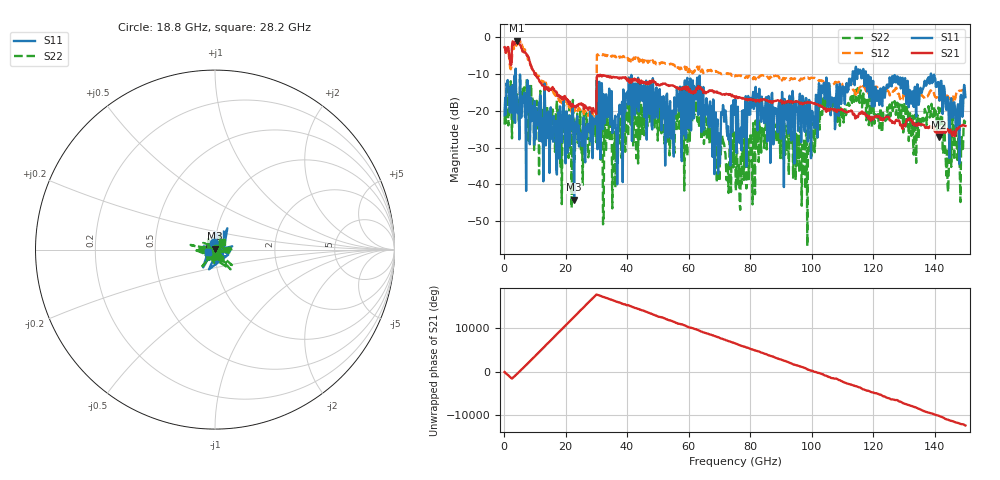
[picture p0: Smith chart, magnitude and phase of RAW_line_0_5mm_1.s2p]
!  2-Port S-parameters saved by WinCal
! VAR MeasName=S-Parameters (CALIBRATED_DATA) read from VNA (MS4647B)
! VAR MeasDate=27-Apr-22 15:00:06
! VAR NAME=RAW_line_0.5mm_1
! VAR FILENAME=RAW_line_0.5mm_1.S2P
! VAR DATE=27-Apr-22 15:00:06
! VAR PHYS_PORTS=1,2
! VAR ObjTypeName=DATASET
! VAR IndexType=Frequency
! VAR ChuckHeaterState=Unknown
! VAR ChuckTemp=NaN
! VAR ChuckTempUnits=Unknown
# Hz S RI R 50
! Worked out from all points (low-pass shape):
!   750 points, 200 MHz to 150 GHz, reference 50 ohm
!   highest |S21| = -0.95 dB at 4.2 GHz (marker M1); lowest = -27.1 dB at 141.4 GHz (marker M2)
!   |S21| within 3 dB of the highest: 690.3 MHz to 1.584 GHz (893.9 MHz wide, 78.6 % of centre); 2.538 GHz to 6.146 GHz (3.608 GHz wide, 83.1 % of centre)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
!   lowest |S11| = -44.2 dB at 22.8 GHz (marker M3), VSWR 1.01, Z = 49.8 + j0.586 ohm
!   |S11| at or under -10 dB: 3.834 GHz to 113.3 GHz (109.5 GHz wide, 187 % of centre); 117.7 GHz to 138.8 GHz (21.1 GHz wide, 16.5 % of centre); 138.8 GHz to end of sweep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
!   |S22| runs from -56.8 to -11.3 dB; largest |S21 - S12| = 1.7
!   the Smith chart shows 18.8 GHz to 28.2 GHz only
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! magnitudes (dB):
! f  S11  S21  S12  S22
! 200 MHz  -21.2  -2.7  -2.6  -23.8
! 4.2 GHz  -16.1  -0.9  -1.5  -15.3
! 22.8 GHz  -44.2  -18.7  -19.5  -32.7
! 25.2 GHz  -26.5  -18.0  -19.7  -31.7
! 29.4 GHz  -22.6  -20.1  -21.7  -23.5
! 30.8 GHz  -12.6  -10.7  -4.9  -21.1
! 35.8 GHz  -24.7  -10.9  -5.2  -30.8
! 41.2 GHz  -18.3  -11.5  -6.6  -23.7
! 50.2 GHz  -14.7  -13.0  -7.3  -18.6
! 54.6 GHz  -24.0  -13.1  -7.3  -28.2
! 62.4 GHz  -17.0  -14.5  -9.0  -17.2
! 69.6 GHz  -37.1  -15.1  -9.6  -34.8
! 75.2 GHz  -16.9  -16.5  -10.5  -34.1
! 76.6 GHz  -28.8  -16.4  -10.4  -45.0
! 87.6 GHz  -29.1  -17.4  -10.5  -27.6
! 98.4 GHz  -17.3  -17.9  -11.4  -25.4
! 100.2 GHz  -20.1  -17.9  -11.1  -30.6
! 104.4 GHz  -16.5  -19.2  -12.0  -19.6
! 125.2 GHz  -13.4  -21.9  -15.1  -20.4
! 141.4 GHz  -12.9  -27.1  -17.5  -19.3
! 144 GHz  -18.0  -25.3  -15.9  -30.8
! 150 GHz  -16.3  -24.1  -15.0  -21.9
